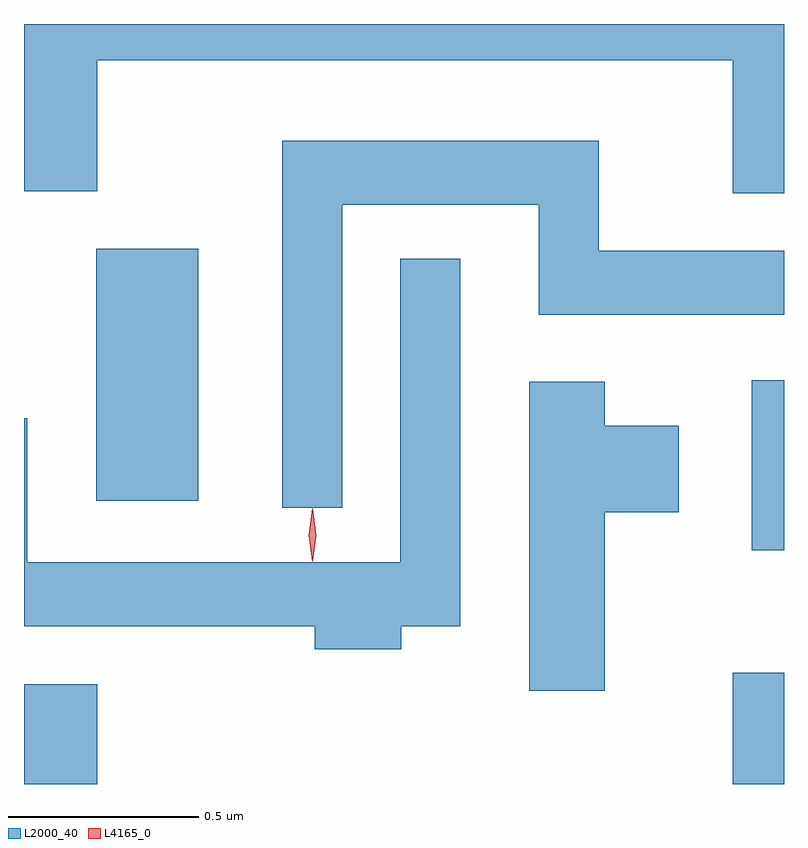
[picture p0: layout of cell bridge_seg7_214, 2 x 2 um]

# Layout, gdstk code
import gdstk
lib = gdstk.Library(unit=1e-6, precision=1e-09)
def R(c, l, rs):  # rectangles x0, y0, x1, y1
    for r in rs: c.add(gdstk.rectangle(r[:2], r[2:], *l))
def P(c, l, *ps):  # polygons
    for p in ps: c.add(gdstk.Polygon(p, *l))
L2000_40 = (2000, 40)
L4165_0 = (4165, 0)

bridge_seg7_214 = lib.new_cell('bridge_seg7_214')
R(bridge_seg7_214, L2000_40, [(1494.906,1707.971,1495.099,1708.234), (1496.771,1707.971,1496.906,1708.264), (1496.821,1708.586,1496.906,1709.034), (1495.096,1708.716,1495.364,1709.379)])
P(bridge_seg7_214, L2000_40, [(1496.906,1709.971),(1494.906,1709.971),(1494.906,1709.531),(1495.099,1709.531),(1495.099,1709.876),(1496.771,1709.876),(1496.771,1709.526),(1496.906,1709.526)],
  [(1495.744,1709.496),(1496.261,1709.496),(1496.261,1709.206),(1496.906,1709.206),(1496.906,1709.374),(1496.419,1709.374),(1496.419,1709.664),(1495.586,1709.664),(1495.586,1708.698),(1495.744,1708.698)],
  [(1495.899,1708.386),(1496.054,1708.386),(1496.054,1709.353),(1495.896,1709.353),(1495.896,1708.554),(1494.914,1708.554),(1494.914,1708.933),(1494.906,1708.933),(1494.906,1708.386),(1495.671,1708.386),(1495.671,1708.326),(1495.899,1708.326)],
  [(1496.434,1708.686),(1496.629,1708.686),(1496.629,1708.914),(1496.434,1708.914),(1496.434,1709.029),(1496.236,1709.029),(1496.236,1708.216),(1496.434,1708.216)])
P(bridge_seg7_214, L4165_0, [(1495.665,1708.559),(1495.664,1708.56),(1495.655,1708.626),(1495.664,1708.692),(1495.665,1708.693),(1495.665,1708.692),(1495.675,1708.626),(1495.665,1708.56)],
  [(1495.664,1708.557),(1495.655,1708.626),(1495.664,1708.696),(1495.665,1708.696),(1495.666,1708.696),(1495.675,1708.626),(1495.666,1708.557),(1495.665,1708.557)])

lib.write_gds('bridge_seg7_214.gds')
